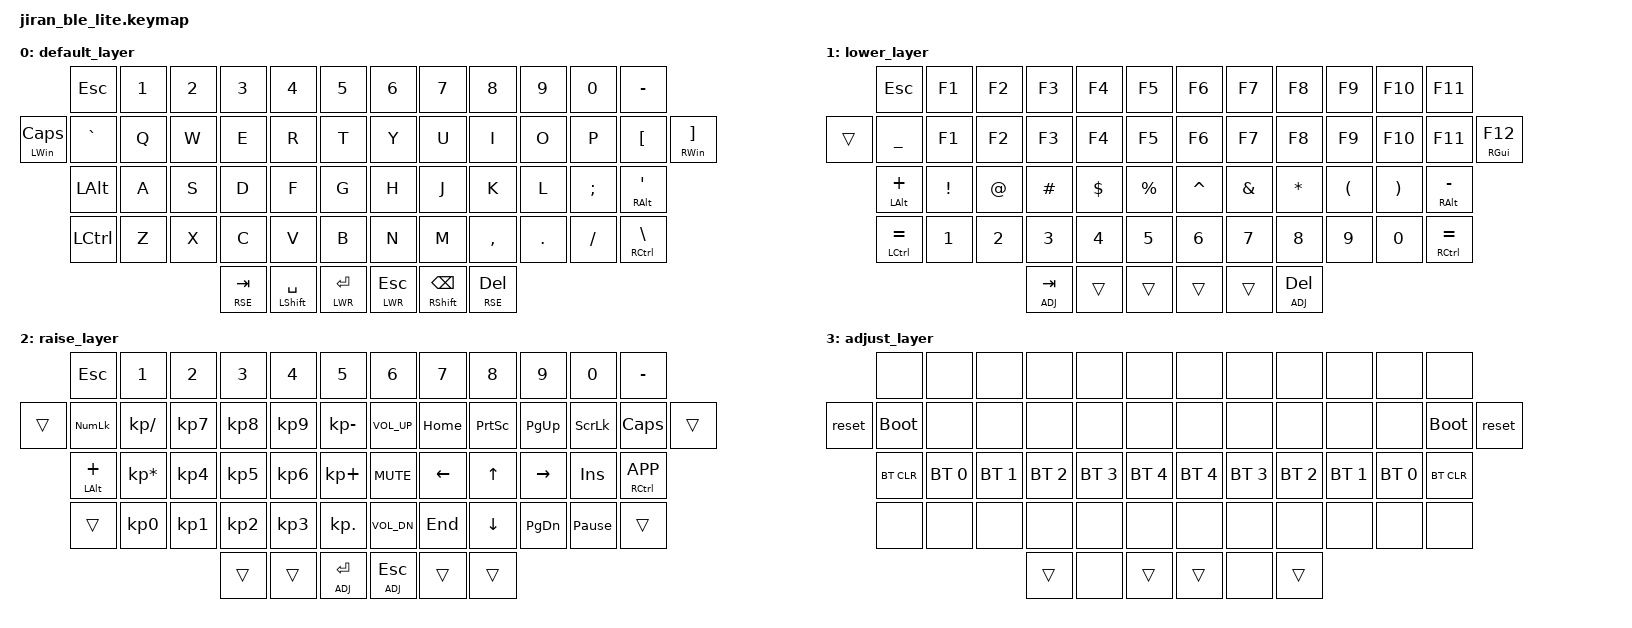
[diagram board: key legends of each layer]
/*
 * Copyright (c) 2020 The ZMK Contributors
 *
 * SPDX-License-Identifier: MIT
 */

#include <behaviors.dtsi>
#include <dt-bindings/zmk/keys.h>
#include <dt-bindings/zmk/bt.h>

#define DEF 0
#define LWR 1
#define RSE 2
#define ADJ 3

/ {
        keymap {
                compatible = "zmk,keymap";

                default_layer {
//             |  ESC  |  1  |  2  |  3  |  4  |  5  |   |  6  |  7   |  8  |  9  |  0  |  -   |
// |  GUI/CAPS |   ~   |  Q  |  W  |  E  |  R  |  T  |   |  Y  |  U   |  I  |  O  |  P  |  [   | GUI/] |
//             | LALT  |  A  |  S  |  D  |  F  |  G  |   |  H  |  J   |  K  |  L  |  ;  | RALT/' |
//             | LCTRL |  Z  |  X  |  C  |  V  |  B  |   |  N  |  M   |  ,  |  .  |  /  | RCTRL \|
//                                 | RSE | SPC | LWR |   | LWR | BKSP | RSE |

                        bindings = <
                 &kp ESC   &kp N1 &kp N2 &kp N3      &kp N4          &kp N5         &kp N6      &kp N7 &kp N8    &kp N9    &kp N0   &kp MINUS
   &mt LWIN CAPS &kp GRAVE &kp Q  &kp W  &kp E       &kp R           &kp T          &kp Y       &kp U          &kp I       &kp O   &kp P    &kp LBKT      &mt RWIN RBKT
                 &kp LALT  &kp A  &kp S  &kp D       &kp F           &kp G          &kp H       &kp J          &kp K       &kp L   &kp SEMI &mt RALT SQT
                 &kp LCTRL &kp Z  &kp X  &kp C       &kp V           &kp B          &kp N       &kp M          &kp COMMA   &kp DOT &kp FSLH &mt RCTRL BSLH
                                         &lt RSE TAB &mt LSHFT SPACE &lt LWR RET    &lt LWR ESC &mt RSHFT BSPC &lt RSE DEL
                        >;
                };

                lower_layer {
//       | ESC      |  F1 |  F2 |  F3 |  F4 |  F5 |   |  F6 |  F7 |  F8 |  F9 | F10 |    F11   |
// |     |  _       |  F1 |  F2 |  F3 |  F4 |  F5 |   |  F6 |  F7 |  F8 |  F9 | F10 |    F11   | F12 |
//       |  LALT/+  |  !  |  @  |  #  |  $  |  %  |   |  ^  |  &  |  *  |  (  |  )  |  RALT/-  |
//       |  LCTRL=  |  1  |  2  |  3  |  4  |  5  |   |  6  |  7  |  8  |  9  |  0  |  LCTRL/= |
//                              | ADJ | SPC |     |   |     |     | ADJ |

                        bindings = <
          &kp ESC         &kp F1   &kp F2 &kp F3      &kp F4   &kp F5           &kp F6    &kp F7   &kp F8   &kp F9   &kp F10  &kp F11
   &trans &kp UNDER       &kp F1   &kp F2 &kp F3      &kp F4   &kp F5           &kp F6    &kp F7   &kp F8   &kp F9   &kp F10  &kp F11        &mt RGUI F12
          &mt LALT PLUS   &kp EXCL &kp AT &kp HASH    &kp DLLR &kp PRCNT        &kp CARET &kp AMPS &kp STAR &kp LPAR &kp RPAR &mt RALT MINUS
          &mt LCTRL EQUAL &kp N1   &kp N2 &kp N3      &kp N4   &kp N5           &kp N6    &kp N7   &kp N8   &kp N9   &kp N0   &mt RCTRL EQUAL
                                          &lt ADJ TAB &trans   &trans           &trans    &trans   &lt ADJ DEL
                        >;
                };

                raise_layer {
//       |  ESC |  1  |  2  |  3  |  4  |  5  |   |  6  |  7  |  8  |  9  |  0  |  -  |
// |     | NMLK |  /  |  7  |  8  |  9  |  -  |   | VOLU| HOME| PRSC| PGUP| SCLK| CLCK|     |
//       | CTRL |  *  |  4  |  5  |  6  |  +  |   | MUT | LEFT|  UP | RGHT| INS | APP |
//       |      |  0  |  1  |  2  |  3  |  .  |   | VOLD| END | DOWN| PGDN| PAUS|     |
//                          |     |     | ADJ |   | ADJ |     |     |

                        bindings = <
          &kp ESC         &kp N1           &kp N2     &kp N3    &kp N4    &kp N5              &kp N6       &kp N7   &kp N8    &kp N9    &kp N0          &kp MINUS              
   &trans &kp KP_NUM      &kp KP_SLASH     &kp KP_N7  &kp KP_N8 &kp KP_N9 &kp KP_MINUS        &kp C_VOL_UP &kp HOME &kp PSCRN &kp PG_UP &kp SLCK        &kp CAPS       &trans
          &mt LALT PLUS   &kp KP_MULTIPLY  &kp KP_N4  &kp KP_N5 &kp KP_N6 &kp KP_PLUS         &kp C_MUTE   &kp LEFT &kp UP    &kp RIGHT &kp INS         &mt RCTRL K_APP
          &trans          &kp KP_N0        &kp KP_N1  &kp KP_N2 &kp KP_N3 &kp KP_DOT          &kp C_VOL_DN &kp END  &kp DOWN  &kp PG_DN &kp PAUSE_BREAK &trans
                                                      &trans    &trans    &lt ADJ RET         &lt ADJ ESC &trans &trans
                        >;
                };
                adjust_layer {

//       |      |     |     |     |     |     |   |     |     |     |     |     |      |
// | RST | BLDR |     |     |     |     |     |   |     |     |     |     |     | BLDR | RST |
//       | BTCLR| BT0 | BT1 | BT2 | BT3 | BT4 |   | BT4 | BT3 | BT2 | BT1 | BT0 | BTCLR|
//       |      |     |     |     |     |     |   |     |     |     |     |     |      |
//                          |     |     |     |   |     |     |     |

                        bindings = <
          &none        &none        &none        &none        &none        &none              &none        &none        &none        &none        &none         &none              
   &reset &bootloader  &none        &none        &none        &none        &none              &none        &none        &none        &none        &none         &bootloader &reset
          &bt BT_CLR   &bt BT_SEL 0 &bt BT_SEL 1 &bt BT_SEL 2 &bt BT_SEL 3 &bt BT_SEL 4       &bt BT_SEL 4 &bt BT_SEL 3 &bt BT_SEL 2 &bt BT_SEL 1 &bt BT_SEL 0  &bt BT_CLR
          &none        &none        &none        &none        &none        &none              &none        &none        &none        &none        &none         &none
                                                 &trans       &none        &trans             &trans       &none        &trans
                        >;
                };
        };
};
